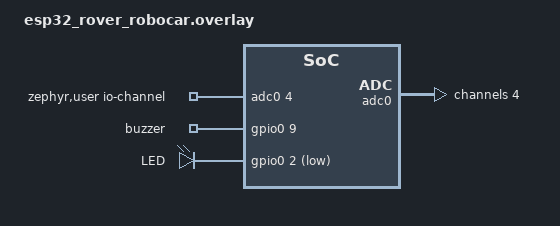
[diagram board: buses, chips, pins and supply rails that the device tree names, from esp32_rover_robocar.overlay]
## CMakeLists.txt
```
# boilerplate cmake
cmake_minimum_required(VERSION 3.20.0)

# import custom board package
list(APPEND BOARD_ROOT ${CMAKE_CURRENT_SOURCE_DIR}/)

# import overlays for CPUs
if(DEFINED BOARD_ESP32_ROVER_PROCPU)
    set(DTC_OVERLAY_FILE ${CMAKE_CURRENT_SOURCE_DIR}/applications/app_core/esp32_rover_robocar_procpu.overlay)
elseif(DEFINED BOARD_ESP32_ROVER_APPCPU)
    set(DTC_OVERLAY_FILE ${CMAKE_CURRENT_SOURCE_DIR}/applications/app_core/esp32_rover_robocar_appcpu.overlay)
endif()

# import zephyr package; this is required for ZephyrOS cmake system to work
find_package(Zephyr REQUIRED HINTS $ENV{ZEPHYR_BASE})
project(ESP32_ROVER)

add_subdirectory(${CMAKE_CURRENT_SOURCE_DIR}/applications/app_core)
```

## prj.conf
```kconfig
# CPP Settings
CONFIG_CPP=y
CONFIG_STD_CPP2B=y
CONFIG_REQUIRES_FULL_LIBCPP=y

# shell settings
CONFIG_SHELL=y

# application settings
CONFIG_MAIN_STACK_SIZE=2048

# logging settings
CONFIG_LOG=y
# CONFIG_LOG_BACKEND_UART=y

# Peripherals
CONFIG_ADC=y
CONFIG_ADC_SHELL=y

CONFIG_GPIO=y
CONFIG_GPIO_SHELL=y

CONFIG_I2C=y
CONFIG_I2C_SHELL=y

# CONFIG_PWM=y
# CONFIG_PWM_SHELL=y
# CONFIG_PWM_PCA9685=y

# todo: Enabling PM disables shell; find out why
# CONFIG_PM=y
# CONFIG_PM_SHELL=y

# CONFIG_WS2812_STRIP_GPIO=y
# CONFIG_LED_STRIP=y
```

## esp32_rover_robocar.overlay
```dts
/**
 * @brief ESP32 Rover Kit DTS Overlay File
 */
#include <zephyr/dt-bindings/led/led.h>

/ {
    zephyr,user {
        io-channels = <&adc0 4>;
    };

    chosen {
        zephyr,adc = &adc0;
    };

    buzzers {
        compatible = "gpio-leds";

        buzzer0: buzzer_0 {
            gpios = <&gpio0 9 GPIO_ACTIVE_HIGH>;
            label = "buzzer";
        };
    };

    leds {
        compatible = "gpio-leds";

        led0: led_0 {
            gpios = <&gpio0 2 GPIO_ACTIVE_LOW>;
            label = "LED";
        };
    };

    // led_strip: ws2812 {
    //     compatible = "worldsemi,ws2812-gpio";

    //     chain-length = <12>; /* arbitrary */
    //     color-mapping = <LED_COLOR_ID_GREEN
    //     LED_COLOR_ID_RED
    //     LED_COLOR_ID_BLUE>;
    //     gpios = <&gpio0 32 0>;
    // };

    aliases
    {
        // led-strip = &led_strip;
        adc0 = &adc0;
        // pca9685 = &pca9685;
        buzzer0 = &buzzer0;
        led0 = &led0;
    };
};


&adc0 {
    status = "okay";
    #address-cells = <1>;
    #size-cells = <0>;

    compatible = "espressif,esp32-adc";
    unit = <0>;

    channel@4 {
        /* Battery Monitor ADC instance */
        reg = <4>;
        zephyr,gain = "ADC_GAIN_1_6";
        zephyr,reference = "ADC_REF_INTERNAL";
        zephyr,acquisition-time = <ADC_ACQ_TIME(ADC_ACQ_TIME_MICROSECONDS, 20)>;
        zephyr,resolution = <12>;
    };
};

&i2c0 {
    // pca9685: pca9685@5f {
    //     /* PCA9685 PWM driver */
    //     compatible = "nxp,pca9685-pwm";
    //     #pwm-cells = <2>;
    //     reg = <0x5f>;
    //     status = "okay";
    // };
};
```

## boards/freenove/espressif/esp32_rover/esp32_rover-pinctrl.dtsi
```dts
/*
 * Copyright (c) 2022 Espressif Systems (Shanghai) Co., Ltd.
 *
 * SPDX-License-Identifier: Apache-2.0
 */

#include <zephyr/dt-bindings/pinctrl/esp-pinctrl-common.h>
#include <dt-bindings/pinctrl/esp32-pinctrl.h>
#include <zephyr/dt-bindings/pinctrl/esp32-gpio-sigmap.h>

&pinctrl {

	uart0_default: uart0_default {
		group1 {
			pinmux = <UART0_TX_GPIO1>;
			output-high;
		};
		group2 {
			pinmux = <UART0_RX_GPIO3>;
			bias-pull-up;
		};
	};

	uart1_default: uart1_default {
		group1 {
			pinmux = <UART1_TX_GPIO10>;
		};
		group2 {
			pinmux = <UART1_RX_GPIO9>;
			bias-pull-up;
		};
	};

	uart2_default: uart2_default {
		group1 {
			pinmux = <UART2_TX_GPIO17>;
		};
		group2 {
			pinmux = <UART2_RX_GPIO16>;
			bias-pull-up;
		};
	};

	spim2_default: spim2_default {
		group1 {
			pinmux = <SPIM2_MISO_GPIO12>,
			         <SPIM2_SCLK_GPIO14>,
			         <SPIM2_CSEL_GPIO15>;
		};
		group2 {
			pinmux = <SPIM2_MOSI_GPIO13>;
			output-low;
		};
	};

	spim3_default: spim3_default {
		group1 {
			pinmux = <SPIM3_MISO_GPIO19>,
			         <SPIM3_SCLK_GPIO18>,
			         <SPIM3_CSEL_GPIO5>;
		};
		group2 {
			pinmux = <SPIM3_MOSI_GPIO23>;
			output-low;
		};
	};

	i2c0_default: i2c0_default {
		group1 {
			pinmux = <I2C0_SDA_GPIO13>,
					 <I2C0_SCL_GPIO14>;
			bias-pull-up;
			drive-open-drain;
			output-high;
		};
	};
};
```

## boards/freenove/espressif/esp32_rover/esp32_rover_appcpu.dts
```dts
/*
 * Copyright (c) 2023 Espressif Systems (Shanghai) Co., Ltd.
 *
 * SPDX-License-Identifier: Apache-2.0
 */
/dts-v1/;

#include <espressif/esp32/esp32_appcpu.dtsi>

/ {
	model = "Freenove-ESP32-Rover-Kit APPCPU";
	compatible = "espressif,esp32";

	chosen {
		zephyr,sram = &sram0;
		zephyr,ipc_shm = &shm0;
		zephyr,ipc = &ipm0;
	};
};

&ipm0 {
	status = "okay";
};

&trng0 {
	status = "okay";
};

&flash0 {
	status = "okay";
	partitions {
		compatible = "fixed-partitions";
		#address-cells = <1>;
		#size-cells = <1>;

		/* Reserve 60kB for the bootloader */
		boot_partition: partition@1000 {
			label = "mcuboot";
			reg = <0x00001000 0x0000F000>;
			read-only;
		};

		/* Reserve 1024kB for the application in slot 0 */
		slot0_partition: partition@10000 {
			label = "image-0";
			reg = <0x00010000 0x00100000>;
		};

		/* Reserve 1024kB for the application in slot 1 */
		slot1_partition: partition@110000 {
			label = "image-1";
			reg = <0x00110000 0x00100000>;
		};

		/* Reserve 256kB for the scratch partition */
		scratch_partition: partition@210000 {
			   label = "image-scratch";
			   reg = <0x00210000 0x00040000>;
		};

		storage_partition: partition@250000 {
			label = "storage";
			reg = <0x00250000 0x00006000>;
		};
	};
};
```

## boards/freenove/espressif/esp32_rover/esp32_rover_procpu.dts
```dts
/*
 * Copyright (c) 2023 Espressif Systems (Shanghai) Co., Ltd.
 *
 * SPDX-License-Identifier: Apache-2.0
 */
/dts-v1/;

#include <espressif/esp32/esp32_wrover_e_n4r8.dtsi>
#include "esp32_rover-pinctrl.dtsi"
#include <zephyr/dt-bindings/input/input-event-codes.h>
#include <zephyr/dt-bindings/input/esp32-touch-sensor-input.h>

/ {
	model = "Freenove-ESP32-Rover-Kit PROCPU";
	compatible = "espressif,esp32";

	aliases {
		uart-0 = &uart0;
		i2c-0 = &i2c0;
		sw0 = &button0;
		watchdog0 = &wdt0;
	};

	buttons {
		compatible = "gpio-keys";
		button0: button_0 {
			gpios = <&gpio0 0 (GPIO_PULL_UP | GPIO_ACTIVE_LOW)>;
			label = "BOOT Button";
			zephyr,code = <INPUT_KEY_0>;
		};
	};

	chosen {
		zephyr,sram = &sram0;
		zephyr,console = &uart0;
		zephyr,shell-uart = &uart0;
		zephyr,flash = &flash0;
		zephyr,code-partition = &slot0_partition;
		zephyr,bt-hci = &esp32_bt_hci;
	};
};
&uart0 {
	status = "okay";
	current-speed = <115200>;
	pinctrl-0 = <&uart0_default>;
	pinctrl-names = "default";
};

&uart1 {
	current-speed = <115200>;
	pinctrl-0 = <&uart1_default>;
	pinctrl-names = "default";
};

&uart2 {
	current-speed = <115200>;
	pinctrl-0 = <&uart2_default>;
	pinctrl-names = "default";
};

&gpio0 {
	status = "okay";
};

&gpio1 {
	status = "okay";
};

&touch {
	debounce-interval-ms = <30>;
	href-microvolt = <2700000>;
	lref-microvolt = <500000>;
	href-atten-microvolt = <1000000>;
	filter-mode = <ESP32_TOUCH_FILTER_MODE_IIR_16>;
	filter-debounce-cnt = <1>;
	filter-noise-thr = <ESP32_TOUCH_FILTER_NOISE_THR_4_8TH>;
	filter-jitter-step = <4>;
	filter-smooth-level = <ESP32_TOUCH_FILTER_SMOOTH_MODE_IIR_2>;
};

&i2c0 {
	status = "okay";
	clock-frequency = <I2C_BITRATE_STANDARD>;
	sda-gpios = <&gpio0 13 GPIO_OPEN_DRAIN>;
	scl-gpios = <&gpio0 14 GPIO_OPEN_DRAIN>;
	pinctrl-0 = <&i2c0_default>;
	pinctrl-names = "default";
};

&spi2 {
	#address-cells = <1>;
	#size-cells = <0>;
	status = "okay";
	pinctrl-0 = <&spim2_default>;
	pinctrl-names = "default";
};

&spi3 {
	#address-cells = <1>;
	#size-cells = <0>;
	status = "okay";
	pinctrl-0 = <&spim3_default>;
	pinctrl-names = "default";
};

&timer0 {
	status = "disabled";
};

&timer1 {
	status = "disabled";
};

&timer2 {
	status = "disabled";
};

&timer3 {
	status = "disabled";
};

&trng0 {
	status = "okay";
};

&flash0 {
	status = "okay";
	partitions {
		compatible = "fixed-partitions";
		#address-cells = <1>;
		#size-cells = <1>;

		/* Reserve 60kB for the bootloader */
		boot_partition: partition@1000 {
			label = "mcuboot";
			reg = <0x00001000 0x0000F000>;
			read-only;
		};

		/* Reserve 1024kB for the application in slot 0 */
		slot0_partition: partition@10000 {
			label = "image-0";
			reg = <0x00010000 0x00100000>;
		};

		/* Reserve 1024kB for the application in slot 1 */
		slot1_partition: partition@110000 {
			label = "image-1";
			reg = <0x00110000 0x00100000>;
		};

		/* Reserve 256kB for the scratch partition */
		scratch_partition: partition@210000 {
			label = "image-scratch";
			reg = <0x00210000 0x00040000>;
		};

		storage_partition: partition@250000 {
			label = "storage";
			reg = <0x00250000 0x00006000>;
		};
	};
};

&esp32_bt_hci {
	status = "okay";
};
```

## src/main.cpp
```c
/*
 * Copyright (c) 2012-2014 Wind River Systems, Inc.
 *
 * SPDX-License-Identifier: Apache-2.0
 */

#include <stdio.h>

#include <zephyr/logging/log.h>
#include <zephyr/shell/shell.h>
#include <zephyr/kernel.h>
#include <zephyr/drivers/adc.h>
#include <zephyr/drivers/gpio.h>

LOG_MODULE_REGISTER(MAIN);

/**
 * @brief display a welcome banner
 * @param
 */
static void inline __banner(void)
{
    printf("\t   -           __                       \n"
           "\t --          ~( @\\   \\                \n"
           "\t---   _________]_[__/_>________         \n"
           "\t     /  ____ \\ <>     |  ____  \\      \n"
           "\t    =\\_/ __ \\_\\_______|_/ __ \\__D   \n"
           "\t________(__)_____________(__)____       \n\n");

    printf("     ______  ______  ______     ______  ______  ______  \n"
           "    /\\  ___\\/\\  ___\\/\\  == \\   /\\  == \\/\\  __ \\/\\__  _\\ \n"
           "    \\ \\  __\\\\ \\___  \\ \\  _-/   \\ \\  __<\\ \\ \\/\\ \\/_/\\ \\/ \n"
           "     \\ \\_____\\/\\_____\\ \\_\\      \\ \\_____\\ \\_____\\ \\ \\_\\ \n"
           "      \\/_____/\\/_____/\\/_/       \\/_____/\\/_____/  \\/_/ \n"
           "                                                        \n");
}

static void __adc_read(void)
{
    static const struct adc_dt_spec adc_chan0 = ADC_DT_SPEC_GET_BY_IDX(DT_PATH(zephyr_user), 0);

    if (adc_is_ready_dt(&adc_chan0)) {
        int err;
        uint32_t count = 0;
        uint32_t buf;

        struct adc_sequence sequence = { .buffer = &buf, .buffer_size = sizeof(buf), .resolution = 12 };

        (void)adc_sequence_init_dt(&adc_chan0, &sequence);
        err = adc_read_dt(&adc_chan0, &sequence);
        if (err == 0u) {
            int32_t val_mv = -99;
            adc_raw_to_millivolts_dt(&adc_chan0, &val_mv);

            LOG_INF("ADC Raw = %d Converted = %d", buf, val_mv);
        }
    }
}

#if !DT_NODE_EXISTS(DT_NODELABEL(buzzer0))
#error "Overlay for power output node not properly defined."
#endif

int main(void)
{
    __banner();

    static struct gpio_dt_spec buzzer = GPIO_DT_SPEC_GET(DT_ALIAS(buzzer0), gpios);

    gpio_pin_configure_dt(&buzzer, GPIO_OUTPUT);

    while (1) {
        gpio_pin_set_dt(&buzzer, 1u);
        k_sleep(K_SECONDS(1u));
        gpio_pin_set_dt(&buzzer, 0u);
        k_sleep(K_SECONDS(1u));
    }

    return 0;
}

/* Creating subcommands (level 1 command) array for command "demo". */
SHELL_STATIC_SUBCMD_SET_CREATE(sub_demo, SHELL_CMD(banner, NULL, "Display banner", __banner),
                               SHELL_CMD(adc_read, NULL, "Read ADC0", __adc_read), SHELL_SUBCMD_SET_END);
/* Creating root (level 0) command "demo" */
SHELL_CMD_REGISTER(demo, &sub_demo, "Demo commands", NULL);
```
